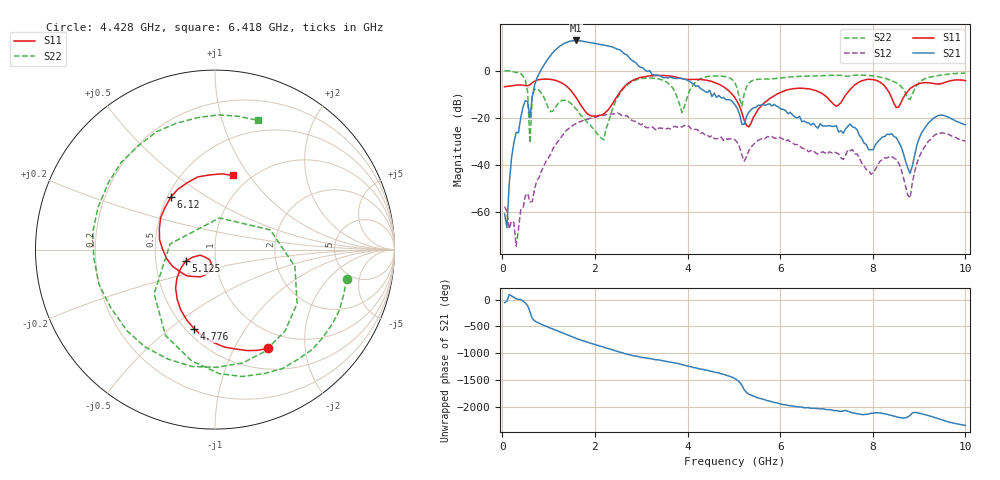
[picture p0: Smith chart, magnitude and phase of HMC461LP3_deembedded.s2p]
!Hittite Microwave Corporation
!12 Elizabeth Drive
!Chelmsford, MA 01824
!Tel: 978-250-3343
!Fax: 978-250-3373
!Device: HMC461LP3, 1.7-2.2 GHz, InGaP HBT 1 Watt High IP3 Amplifier in Leadless LP3 SMT Package
!Misc: Input reference is the balun at input line, output reference is the balun at output line, Vs=+5V, Room
# MHZ S MA R 50
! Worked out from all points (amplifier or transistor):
!   201 points, 50 MHz to 10 GHz, reference 50 ohm
!   highest |S21| = 12.9 dB at 1.592 GHz (marker M1)
!   |S21| within 3 dB of that: 1.208 GHz to 2.405 GHz (1.197 GHz wide, 66.2 % of centre)
!   unconditionally stable (mu >= 1): 74.81 MHz to end of sweep
!   at 1.692 GHz: K = 1.50, MAG = 12.9 dB, |S12| = -21.5 dB
!   at 5.025 GHz: K = 50.34, MAG = -12.6 dB, |S12| = -29.4 dB
!   at 10 GHz: K = 28.66, MAG = -14.1 dB, |S12| = -29.9 dB
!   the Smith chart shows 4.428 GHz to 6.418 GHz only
!   S11 on the Smith chart (normalised r, x): 4.428 GHz: 0.76, -1.37; 4.776 GHz: 0.55, -0.61; 5.125 GHz: 0.71, -0.09; 6.12 GHz: 0.52, +0.36; 6.418 GHz: 0.84, +0.84
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50  0.458 -12.7  0.0009046 -56.3  0.001292 -159.1  1.003 -13.3
597.25  0.504 -122.5  0.1 133.4  0.001617 13.1  0.029 -103.4
895.75  0.663 178.2  1.302 -120.9  0.009481 146.6  0.276 167.8
1144.5  0.626 119.7  2.749 151.3  0.026 84.9  0.167 -176.3
1343.5  0.507 64.4  3.844 81.9  0.048 28.1  0.234 137.8
1592.25  0.271 -3.3  4.399 -2.7  0.075 -43.5  0.154 47.6
1741.5  0.159 -27.1  4.218 -48.2  0.087 -83.2  0.106 -1.1
1940.5  0.109 -39.9  3.88 -103.2  0.1 -132.5  0.062 -35.8
2189.25  0.121 -88.2  3.521 -167.3  0.114 168.9  0.034 -141.9
2537.5  0.347 149.8  2.787 98.1  0.12 82.8  0.325 103.6
2836  0.639 80.5  1.586 30.7  0.085 14.4  0.613 45.8
3383.25  0.794 12.7  0.794 -44.8  0.061 -55.5  0.666 -33.7
4428  0.624 -61.9  0.344 123.3  0.043 111.1  0.751 -12.4
4776.25  0.457 -104.6  0.271 45.9  0.033 39.9  0.762 -60.4
5025  0.266 -143.0  0.189 -36.2  0.034 -39.4  0.553 -119.8
5124.5  0.176 -158.6  0.118 -100.4  0.024 -100.1  0.252 172.7
6119.5  0.382 130.1  0.142 -161.7  0.032 -163.3  0.719 126.5
6418  0.425 76.3  0.108 156.4  0.025 162.2  0.759 71.6
6716.5  0.391 21.5  0.077 132.6  0.02 132.1  0.774 27.2
7661.75  0.541 -39.6  0.056 29.9  0.017 40.9  0.808 -89.7
8358.25  0.338 177.2  0.044 6.1  0.015 19.2  0.641 151.3
10000  0.614 -149.9  0.071 172.0  0.032 -176.6  0.891 -77.7
